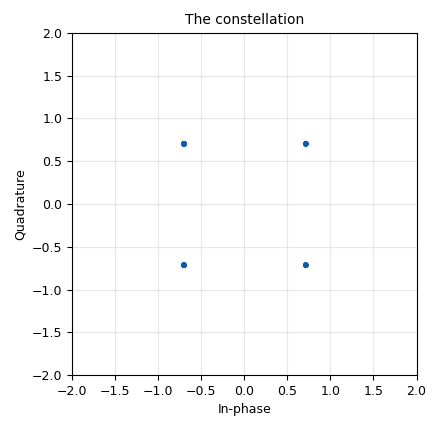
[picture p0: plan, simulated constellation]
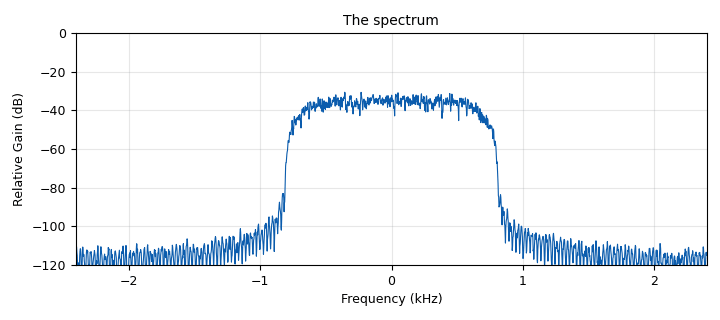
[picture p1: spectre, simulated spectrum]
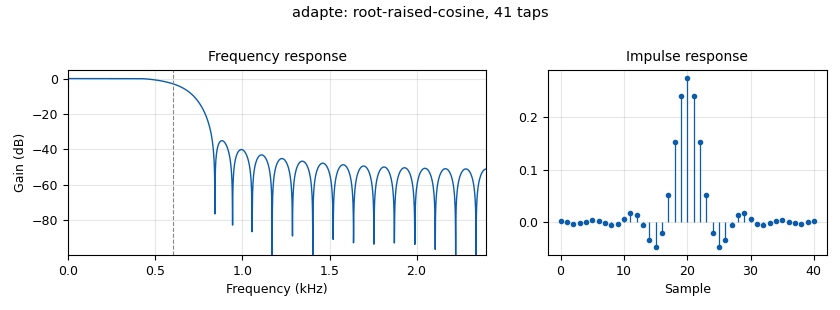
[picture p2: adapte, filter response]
options:
  parameters:
    generate_options: qt_gui
    id: fg_tp14_001
    output_language: python
    title: FG-TP14-001
  states: {}

blocks:
- name: constellation
  id: variable_constellation
  parameters:
    precision: '8'
    type: qpsk
  states: {}
- name: excess_bw
  id: variable
  parameters:
    value: '0.35'
  states: {}
- name: normalize
  id: variable
  parameters:
    value: 1.0/math.sqrt(sum(abs(p)**2 for p in constellation.points())/len(constellation.points()))
  states: {}
- name: samp_rate
  id: variable
  parameters:
    value: symbol_rate * sps
  states: {}
- name: sps
  id: variable
  parameters:
    value: '4'
  states: {}
- name: symbol_rate
  id: variable
  parameters:
    value: '1200'
  states: {}
- name: adapte
  id: root_raised_cosine_filter
  parameters:
    alpha: excess_bw
    decim: sps
    gain: '1'
    ntaps: '41'
    samp_rate: samp_rate
    sym_rate: symbol_rate
    type: fir_filter_ccf
  states: {}
- name: debit_flux
  id: blocks_throttle2
  parameters:
    samples_per_second: samp_rate
    type: complex
  states: {}
- name: egaliser
  id: blocks_multiply_const_vxx
  parameters:
    const: normalize
    type: complex
  states: {}
- name: importer_math
  id: import
  parameters:
    imports: import math
  states: {}
- name: moduler
  id: digital_constellation_modulator
  parameters:
    constellation: constellation
    differential: 'False'
    excess_bw: excess_bw
    samples_per_symbol: sps
  states: {}
- name: octets
  id: analog_random_source_x
  parameters:
    max: '256'
    min: '0'
    num_samps: '1000'
    repeat: 'True'
    type: byte
  states: {}
- name: plan
  id: qtgui_const_sink_x
  parameters:
    grid: 'True'
    gui_hint: 0,0,1,1
    legend: 'False'
    name: '"The constellation"'
    size: '1024'
    type: complex
  states: {}
- name: spectre
  id: qtgui_freq_sink_x
  parameters:
    average: '0.2'
    bw: samp_rate
    fc: '0'
    fftsize: '2048'
    grid: 'True'
    gui_hint: 1,0,1,1
    legend: 'False'
    name: '"The spectrum"'
    type: complex
    ymax: '0'
    ymin: '-120'
  states: {}

connections:
- [adapte, '0', plan, '0']
- [debit_flux, '0', adapte, '0']
- [debit_flux, '0', spectre, '0']
- [egaliser, '0', debit_flux, '0']
- [moduler, '0', egaliser, '0']
- [octets, '0', moduler, '0']

metadata:
  file_format: 1
  grc_version: 3.10.12.0
